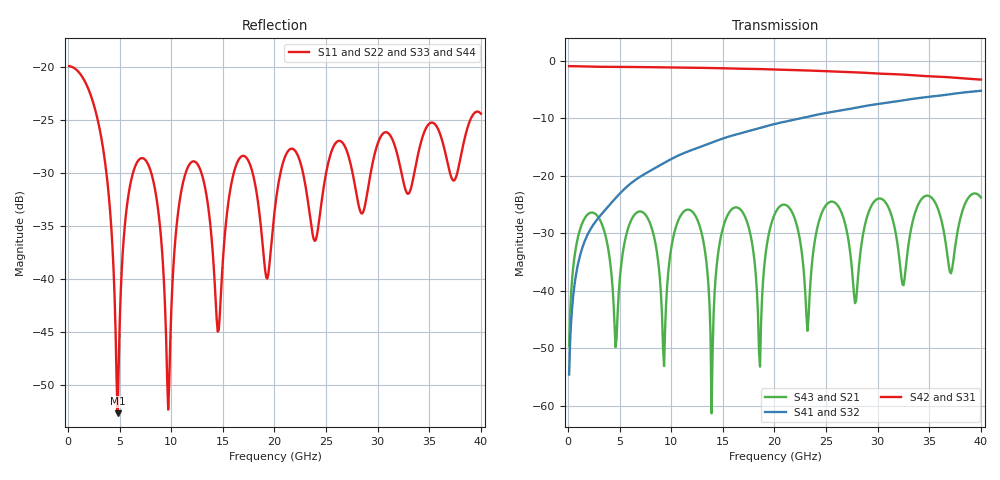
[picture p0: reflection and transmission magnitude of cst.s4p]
! T_ts6_xt_ms_s10: Microstrip aggressor and victim on L1, w 0.265 mm, edge gap 1·w = 0.27 mm, 20 mm
! stackup: ThunderScope Rev5.3 6-layer (FR408HR / FR-4, from the board file)
! ports: 1 near A, 2 near B, 3 far A, 4 far B
! CST Studio Suite 2025.5 Release from 2025-05-30, time domain (FIT, hexahedral, PBA), 169302 mesh cells, 41 s
! mesh: {'lpw': 20, 'lpb': 20, 'minstep': 0.0, 'ratio': 20}; ports: port 1 (face); port 2 (face); port 3 (face); port 4 (face)
! interpolated from CST's 1001 samples to the case grid
# Hz S RI R 50
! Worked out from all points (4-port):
!   400 points, 100 MHz to 40 GHz, reference 50 ohm
!   strongest paths, dB at 100 MHz, 10.1 GHz, 20.1 GHz, 30.1 GHz, 40 GHz:
!     S42: -0.9, -1.1, -1.5, -2.2, -3.3
!     S31: -0.9, -1.1, -1.5, -2.2, -3.3
!     S41: -54.5, -17.0, -10.9, -7.5, -5.2
!     S32: -54.5, -17.0, -10.9, -7.5, -5.2
!     S43: -49.6, -31.5, -26.4, -23.9, -23.7
!     S21: -49.6, -31.5, -26.4, -23.9, -23.7
!   lowest |S11| = -52.7 dB at 4.8 GHz (marker M1), VSWR 1.00, Z = 50.2 + j0.17 ohm
!   |S11| at or under -10 dB: start of sweep to end of sweep
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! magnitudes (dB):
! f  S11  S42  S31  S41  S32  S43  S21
! 100 MHz  -19.9  -0.9  -0.9  -54.5  -54.5  -49.6  -49.6
! 4.8 GHz  -52.7  -1.0  -1.0  -23.5  -23.5  -43.9  -43.9
! 12.1 GHz  -28.9  -1.2  -1.2  -15.4  -15.4  -26.3  -26.3
! 13.9 GHz  -36.1  -1.2  -1.2  -14.2  -14.2  -61.3  -61.3
! 15.9 GHz  -30.6  -1.3  -1.3  -13.0  -13.0  -25.7  -25.7
! 18.6 GHz  -34.3  -1.4  -1.4  -11.7  -11.7  -53.2  -53.2
! 40 GHz  -24.4  -3.3  -3.3  -5.2  -5.2  -23.7  -23.7
